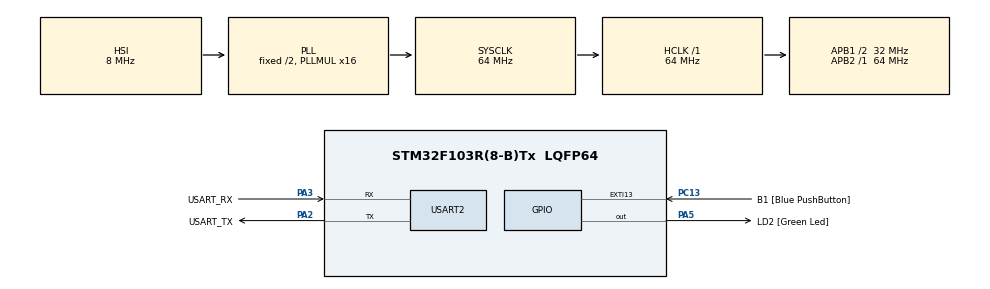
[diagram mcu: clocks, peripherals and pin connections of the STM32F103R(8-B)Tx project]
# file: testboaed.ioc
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Mcu.Family=STM32F1
Mcu.Name=STM32F103R(8-B)Tx
Mcu.Package=LQFP64
NVIC.EXTI15_10_IRQn=true\:0\:0\:false\:false\:true\:true\:true\:true
NVIC.PriorityGroup=NVIC_PRIORITYGROUP_4
PA13.GPIO_Label=TMS
PA13.Mode=Serial_Wire
PA13.Signal=SYS_JTMS-SWDIO
PA14.GPIO_Label=TCK
PA14.Mode=Serial_Wire
PA14.Signal=SYS_JTCK-SWCLK
PA2.GPIO_Label=USART_TX
PA2.GPIO_Mode=GPIO_MODE_AF_PP
PA2.GPIO_PuPd=GPIO_NOPULL
PA2.GPIO_Speed=GPIO_SPEED_FREQ_LOW
PA2.Mode=Asynchronous
PA2.Signal=USART2_TX
PA3.GPIO_Label=USART_RX
PA3.GPIO_Mode=GPIO_MODE_AF_PP
PA3.GPIO_PuPd=GPIO_NOPULL
PA3.GPIO_Speed=GPIO_SPEED_FREQ_LOW
PA3.Mode=Asynchronous
PA3.Signal=USART2_RX
PA5.GPIO_Label=LD2 [Green Led]
PA5.GPIO_ModeDefaultOutputPP=GPIO_MODE_OUTPUT_PP
PA5.GPIO_PuPd=GPIO_NOPULL
PA5.GPIO_Speed=GPIO_SPEED_FREQ_LOW
PA5.Signal=GPIO_Output
PB3.GPIO_Label=SWO
PB3.Signal=SYS_JTDO-TRACESWO
PC13-TAMPER-RTC.GPIO_Label=B1 [Blue PushButton]
PC13-TAMPER-RTC.GPIO_PuPd=GPIO_NOPULL
PC13-TAMPER-RTC.Signal=GPXTI13
PC14-OSC32_IN.Mode=LSE-External-Oscillator
PC14-OSC32_IN.Signal=RCC_OSC32_IN
PC15-OSC32_OUT.Mode=LSE-External-Oscillator
PC15-OSC32_OUT.Signal=RCC_OSC32_OUT
PD0-OSC_IN.Mode=HSE-External-Clock-Source
PD0-OSC_IN.Signal=RCC_OSC_IN
PD1-OSC_OUT.Mode=HSE-External-Clock-Source
PD1-OSC_OUT.Signal=RCC_OSC_OUT
ProjectManager.HeapSize=0x200
ProjectManager.StackSize=0x400
ProjectManager.TargetToolchain=STM32CubeIDE
RCC.AHBFreq_Value=64000000
RCC.APB1CLKDivider=RCC_HCLK_DIV2
RCC.APB1Freq_Value=32000000
RCC.APB1TimFreq_Value=64000000
RCC.APB2Freq_Value=64000000
RCC.APB2TimFreq_Value=64000000
RCC.HCLKFreq_Value=64000000
RCC.PLLMUL=RCC_PLL_MUL16
RCC.RTCClockSelection=RCC_RTCCLKSOURCE_LSE
RCC.SYSCLKFreq_VALUE=64000000
RCC.SYSCLKSource=RCC_SYSCLKSOURCE_PLLCLK
RCC.USBFreq_Value=64000000
USART2.VirtualMode=VM_ASYNC
board=NUCLEO-F103RB

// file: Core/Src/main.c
/* USER CODE BEGIN Header */
/**
  ******************************************************************************
  * @file           : main.c
  * @brief          : Main program body
  ******************************************************************************
  * @attention
  *
  * Copyright (c) 2025 STMicroelectronics.
  * All rights reserved.
  *
  * This software is licensed under terms that can be found in the LICENSE file
  * in the root directory of this software component.
  * If no LICENSE file comes with this software, it is provided AS-IS.
  *
  ******************************************************************************
  */
/* USER CODE END Header */
#include "main.h"
#include <stdio.h>
#include <string.h>
#include <math.h>
#include <stdbool.h> // For bool type
#include "uart_commands.h"

/* USER CODE BEGIN Includes */
#include "pid.h"
#include "drone.h"
#include "imu.h"
#include "filter.h"
/* USER CODE END Includes */

/* USER CODE BEGIN PD */
#define CONTROL_LOOP_PERIOD_MS 2 // 2ms, 500Hz control loop
#define LOG_PRINT_INTERVAL 850   // 예: 2ms * 850 = 1.7초마다 로그 출력 (조정 가능)
/* USER CODE END PD */

UART_HandleTypeDef huart2;

/* USER CODE BEGIN PV */
PIDController pid_roll;
PIDController pid_pitch;
PIDController pid_yaw;
float target_angles[3] = {0.0f, 0.0f, 0.0f};
volatile bool control_loop_flag = false;
static uint32_t log_counter = 0;
/* USER CODE END PV */

void SystemClock_Config(void);
static void MX_GPIO_Init(void);
static void MX_USART2_UART_Init(void);
void PWM_SetDuty(float duty); // 이 함수를 실제로 사용하지 않는다면 경고가 발생할 수 있습니다.
// Error_Handler()는 main.h 또는 HAL 드라이버에 의해 이미 선언되어 있을 것입니다.

int main(void)
{

  /* MCU Configuration--------------------------------------------------------*/

  /* Reset of all peripherals, Initializes the Flash interface and the Systick. */
  HAL_Init();

  /* Configure the system clock */
  SystemClock_Config();

  /* Initialize all configured peripherals */
  MX_GPIO_Init();
  MX_USART2_UART_Init();
  UART_Commands_Init(&huart2);

  /* USER CODE BEGIN 2 */
  printf("Control Loop Period: %d ms\r\n", CONTROL_LOOP_PERIOD_MS);

  Drone_Init();
  IMU_Init();
  Filter_Init();

  float current_dt_for_init = (float)CONTROL_LOOP_PERIOD_MS / 1000.0f;
  float pid_output_min = -100.0f;
  float pid_output_max = 100.0f;
  float pid_integral_min = -500.0f; // 예: pid.h의 MAX_INTEGRAL 값 활용
  float pid_integral_max = 500.0f;  // 예: pid.h의 MIN_INTEGRAL 값 활용 (부호 확인)

  PID_Init(&pid_roll,  1.0f, 0.1f, 0.05f, current_dt_for_init, pid_output_min, pid_output_max, pid_integral_min, pid_integral_max);
  PID_Init(&pid_pitch, 1.0f, 0.1f, 0.05f, current_dt_for_init, pid_output_min, pid_output_max, pid_integral_min, pid_integral_max);
  PID_Init(&pid_yaw,   1.0f, 0.1f, 0.05f, current_dt_for_init, pid_output_min, pid_output_max, pid_integral_min, pid_integral_max);

  printf("=== Drone Simulation Start ===\r\n");
  /* USER CODE END 2 */

  /* Infinite loop */
  while (1)
  {

    /* USER CODE BEGIN 3 */
    if (control_loop_flag)
    {
      control_loop_flag = false;
      float current_dt = (float)CONTROL_LOOP_PERIOD_MS / 1000.0f;

      // 1. 현재 드론 상태 읽기 (센서 값)
            // 이 시점의 드론 상태는 이전 제어 루프에서 actual_..._rate_input에 의해 업데이트된 결과입니다.
            float current_raw_roll  = IMU_GetRawAngle(AXIS_ROLL);
            float current_raw_pitch = IMU_GetRawAngle(AXIS_PITCH);
            float current_raw_yaw   = IMU_GetRawAngle(AXIS_YAW);

            float current_gyro_roll  = IMU_GetRawGyro(AXIS_ROLL);
            float current_gyro_pitch = IMU_GetRawGyro(AXIS_PITCH);
            float current_gyro_yaw   = IMU_GetRawGyro(AXIS_YAW);

            // 2. 센서 값 필터링
            Filter_Update(AXIS_ROLL,  current_raw_roll,  current_gyro_roll,  current_dt);
            Filter_Update(AXIS_PITCH, current_raw_pitch, current_gyro_pitch, current_dt);
            Filter_Update(AXIS_YAW,   current_raw_yaw,   current_gyro_yaw,   current_dt);

            // 3. 필터링된 현재 각도 값 (PID 입력으로 사용)
            float filt_roll_for_pid  = Filter_GetAngle(AXIS_ROLL);
            float filt_pitch_for_pid = Filter_GetAngle(AXIS_PITCH);
            float filt_yaw_for_pid   = Filter_GetAngle(AXIS_YAW);

            // 4. PID 제어 연산
            float out_roll  = PID_Compute(&pid_roll,  target_angles[AXIS_ROLL],  filt_roll_for_pid);
            float out_pitch = PID_Compute(&pid_pitch, target_angles[AXIS_PITCH], filt_pitch_for_pid);
            float out_yaw   = PID_Compute(&pid_yaw,   target_angles[AXIS_YAW],   filt_yaw_for_pid);

            // 5. PID 출력을 드론의 다음 상태 업데이트를 위한 입력으로 사용 (제어 루프 피드백)
            float actual_roll_rate_input = out_roll;
            float actual_pitch_rate_input = out_pitch;
            float actual_yaw_rate_input = out_yaw;

            Drone_Update(actual_roll_rate_input, actual_pitch_rate_input, actual_yaw_rate_input, current_dt);
            // 이제 Drone_GetState()를 호출하면 이 제어 입력이 반영된 최신 상태를 얻을 수 있습니다.

            // 6. 상태 UART 출력 (로깅)
                  log_counter++;
                  if (log_counter >= LOG_PRINT_INTERVAL) {
                      log_counter = 0;
                      if (!UART_IsUserTypingCommand()) {
                          DroneState* current_drone_state = Drone_GetState(); // 최신 상태 가져오기

                          printf("--- Time: %.3fs ---\r\n", (float)HAL_GetTick()/1000.0f);
                          printf("Target:\tRoll=%.2f,\tPitch=%.2f,\tYaw=%.2f\r\n",
                                 target_angles[AXIS_ROLL], target_angles[AXIS_PITCH], target_angles[AXIS_YAW]);
                          // PID 입력으로 사용된 센서 값들
                          printf("Raw(PID_In):\tRoll=%.2f,\tPitch=%.2f,\tYaw=%.2f\r\n",
                                 current_raw_roll, current_raw_pitch, current_raw_yaw);
                          printf("Filt(PID_In):\tRoll=%.2f,\tPitch=%.2f,\tYaw=%.2f\r\n",
                                 filt_roll_for_pid, filt_pitch_for_pid, filt_yaw_for_pid);
                          printf("PID Out:\tRoll=%.2f,\tPitch=%.2f,\tYaw=%.2f\r\n",
                                 out_roll, out_pitch, out_yaw);
                          // 제어 출력이 반영된 후의 드론 상태 (각도 및 각속도)
                          printf("State(Angle):\tRoll=%.2f,\tPitch=%.2f,\tYaw=%.2f\r\n",
                                 current_drone_state->angle[AXIS_ROLL], current_drone_state->angle[AXIS_PITCH], current_drone_state->angle[AXIS_YAW]);
                          printf("State(AngVel):\tRoll=%.2f,\tPitch=%.2f,\tYaw=%.2f\r\n",
                                 current_drone_state->angVel[AXIS_ROLL], current_drone_state->angVel[AXIS_PITCH], current_drone_state->angVel[AXIS_YAW]);
                          printf("-----------------------\r\n\r\n");
                          fflush(stdout);
          }
      }
    }
    UART_Commands_Process(); // UART 명령어 처리
    /* USER CODE END 3 */
  } // 여기가 main 함수의 실제 끝입니다.
} // 여기가 main 함수의 실제 끝입니다. 이 중괄호 뒤에 다른 함수 정의가 와야 합니다.

void SystemClock_Config(void)
{
  RCC_OscInitTypeDef RCC_OscInitStruct = {0};
  RCC_ClkInitTypeDef RCC_ClkInitStruct = {0};

  /** Initializes the RCC Oscillators according to the specified parameters
  * in the RCC_OscInitTypeDef structure.
  */
  RCC_OscInitStruct.OscillatorType = RCC_OSCILLATORTYPE_HSI;
  RCC_OscInitStruct.HSIState = RCC_HSI_ON;
  RCC_OscInitStruct.HSICalibrationValue = RCC_HSICALIBRATION_DEFAULT;
  RCC_OscInitStruct.PLL.PLLState = RCC_PLL_ON;
  RCC_OscInitStruct.PLL.PLLSource = RCC_PLLSOURCE_HSI_DIV2;
  RCC_OscInitStruct.PLL.PLLMUL = RCC_PLL_MUL16;
  if (HAL_RCC_OscConfig(&RCC_OscInitStruct) != HAL_OK)
  {
    Error_Handler();
  }

  /** Initializes the CPU, AHB and APB buses clocks
  */
  RCC_ClkInitStruct.ClockType = RCC_CLOCKTYPE_HCLK|RCC_CLOCKTYPE_SYSCLK
                              |RCC_CLOCKTYPE_PCLK1|RCC_CLOCKTYPE_PCLK2;
  RCC_ClkInitStruct.SYSCLKSource = RCC_SYSCLKSOURCE_PLLCLK;
  RCC_ClkInitStruct.AHBCLKDivider = RCC_SYSCLK_DIV1;
  RCC_ClkInitStruct.APB1CLKDivider = RCC_HCLK_DIV2;
  RCC_ClkInitStruct.APB2CLKDivider = RCC_HCLK_DIV1;

  if (HAL_RCC_ClockConfig(&RCC_ClkInitStruct, FLASH_LATENCY_2) != HAL_OK)
  {
    Error_Handler();
  }
}

static void MX_USART2_UART_Init(void){

  huart2.Instance = USART2;
  huart2.Init.BaudRate = 115200;
  huart2.Init.WordLength = UART_WORDLENGTH_8B;
  huart2.Init.StopBits = UART_STOPBITS_1;
  huart2.Init.Parity = UART_PARITY_NONE;
  huart2.Init.Mode = UART_MODE_TX_RX;
  huart2.Init.HwFlowCtl = UART_HWCONTROL_NONE;
  huart2.Init.OverSampling = UART_OVERSAMPLING_16;
  if (HAL_UART_Init(&huart2) != HAL_OK)
  {
    Error_Handler();
  }
}

static void MX_GPIO_Init(void)
{
  GPIO_InitTypeDef GPIO_InitStruct = {0};

  /* GPIO Ports Clock Enable */
  __HAL_RCC_GPIOC_CLK_ENABLE();
  __HAL_RCC_GPIOD_CLK_ENABLE();
  __HAL_RCC_GPIOA_CLK_ENABLE();
  __HAL_RCC_GPIOB_CLK_ENABLE();

  /*Configure GPIO pin Output Level */
  HAL_GPIO_WritePin(LD2_GPIO_Port, LD2_Pin, GPIO_PIN_RESET);

  /*Configure GPIO pin : B1_Pin */
  GPIO_InitStruct.Pin = B1_Pin;
  GPIO_InitStruct.Mode = GPIO_MODE_IT_RISING;
  GPIO_InitStruct.Pull = GPIO_NOPULL;
  HAL_GPIO_Init(B1_GPIO_Port, &GPIO_InitStruct);

  /*Configure GPIO pin : LD2_Pin */
  GPIO_InitStruct.Pin = LD2_Pin;
  GPIO_InitStruct.Mode = GPIO_MODE_OUTPUT_PP;
  GPIO_InitStruct.Pull = GPIO_NOPULL;
  GPIO_InitStruct.Speed = GPIO_SPEED_FREQ_LOW;
  HAL_GPIO_Init(LD2_GPIO_Port, &GPIO_InitStruct);

  /* EXTI interrupt init*/
  HAL_NVIC_SetPriority(EXTI15_10_IRQn, 0, 0);
  HAL_NVIC_EnableIRQ(EXTI15_10_IRQn);

}

/* USER CODE BEGIN 4 */

void PWM_SetDuty(float duty)
{
    // 이 함수는 현재 사용되지 않고 있으며, 실제 PWM 로직으로 대체되어야 합니다.
    // 시뮬레이션 용도 또는 실제 PWM 타이머를 사용하여 구현합니다.
    // 예: __HAL_TIM_SET_COMPARE(&htimX, TIM_CHANNEL_Y, (uint32_t)duty_cycle_value);
}

/* USER CODE END 4 */

void Error_Handler(void)
{
  /* USER CODE BEGIN Error_Handler_Debug */
  printf("Error_Handler() called!\r\n");
  fflush(stdout); // 버퍼 비우기
  __disable_irq();
  while (1)
  {
     HAL_GPIO_TogglePin(LD2_GPIO_Port, LD2_Pin); // LD2 핀 (보통 PA5) 토글
     HAL_Delay(200);
  }
  /* USER CODE END Error_Handler_Debug */
}

#ifdef  USE_FULL_ASSERT
/**
  * @brief  Reports the name of the source file and the source line number
  * where the assert_param error has occurred.
  * @param  file: pointer to the source file name
  * @param  line: assert_param error line source number
  * @retval None
  */
void assert_failed(uint8_t *file, uint32_t line)
{
  /* USER CODE BEGIN 6 */
  printf("Wrong parameters value: file %s on line %lu\r\n", file, line);
  fflush(stdout); // 버퍼 비우기
  /* USER CODE END 6 */
}
#endif /* USE_FULL_ASSERT */
